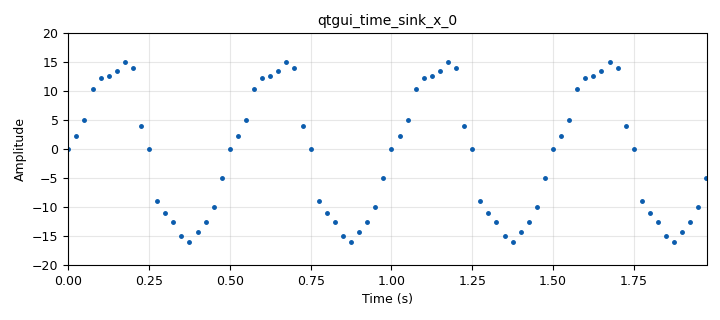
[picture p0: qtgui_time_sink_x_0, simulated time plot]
options:
  parameters:
    generate_options: qt_gui
    id: Rates
    output_language: python
    title: Rates
  states: {}

blocks:
- name: samp_rate
  id: variable
  parameters:
    value: '40'
  states: {}
- name: blocks_vector_source_x_0
  id: blocks_vector_source_x
  parameters:
    comment: A simulated messy sine wave.
    repeat: 'True'
    type: float
    vector: '[0.0, 2.3, 5, 10.3, 12.2, 12.5, 13.5, 15, 14, 4, 0, -9, -11, -12.5, -15, -16, -14.2, -12.5, -10, -5]'
  states: {}
- name: qtgui_time_sink_x_0
  id: qtgui_time_sink_x
  parameters:
    marker1: '0'
    size: '80'
    srate: samp_rate
    style1: '0'
    type: float
    ymax: '20'
    ymin: '-20'
  states: {}

connections:
- [blocks_vector_source_x_0, '0', qtgui_time_sink_x_0, '0']

metadata:
  file_format: 1
